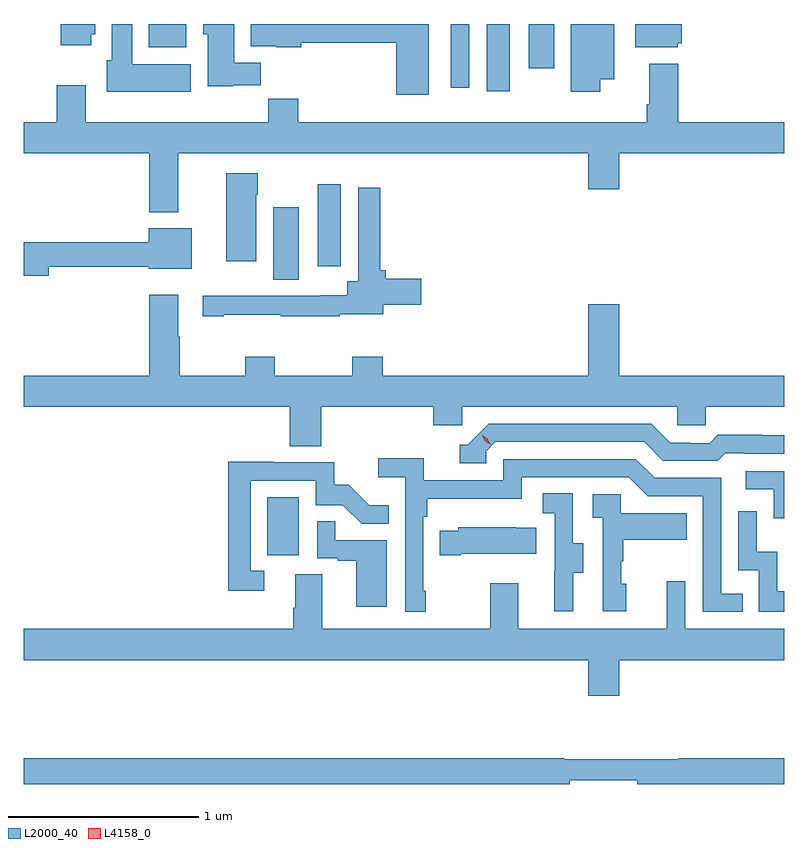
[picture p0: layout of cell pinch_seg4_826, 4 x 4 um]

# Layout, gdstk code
import gdstk
lib = gdstk.Library(unit=1e-6, precision=1e-09)
def R(c, l, rs):  # rectangles x0, y0, x1, y1
    for r in rs: c.add(gdstk.rectangle(r[:2], r[2:], *l))
def P(c, l, *ps):  # polygons
    for p in ps: c.add(gdstk.Polygon(p, *l))
L2000_40 = (2000, 40)
L4158_0 = (4158, 0)

pinch_seg4_826 = lib.new_cell('pinch_seg4_826')
R(pinch_seg4_826, L2000_40, [(882.602,809.358,882.766,809.665), (882.632,810.808,882.766,811.189), (882.866,810.879,882.988,811.309), (883.754,811.8,883.876,812.153), (883.566,811.818,883.662,812.153), (883.976,811.92,884.11,812.153), (881.978,812.03,882.175,812.153)])
P(pinch_seg4_826, L2000_40, [(881.674,812.1),(881.695,812.1),(881.695,812.153),(881.516,812.153),(881.516,812.04),(881.674,812.04)],
  [(884.76,812.052),(884.782,812.052),(884.782,812.153),(884.537,812.153),(884.537,812.03),(884.76,812.03)],
  [(882.423,811.83),(882.566,811.83),(882.566,811.948),(882.427,811.948),(882.427,812.153),(882.263,812.153),(882.263,812.1),(882.287,812.1),(882.287,811.826),(882.423,811.826)],
  [(883.45,812.153),(882.515,812.153),(882.515,812.036),(882.648,812.036),(882.648,812.03),(882.779,812.03),(882.779,812.055),(883.28,812.055),(883.28,811.782),(883.45,811.782)],
  [(882.199,811.942),(881.89,811.942),(881.89,812.153),(881.783,812.153),(881.783,811.962),(881.756,811.962),(881.756,811.796),(882.199,811.796)],
  [(884.353,811.862),(884.425,811.862),(884.425,812.153),(884.198,812.153),(884.198,811.797),(884.353,811.797)],
  [(882.133,811.472),(884.288,811.472),(884.288,811.284),(884.452,811.284),(884.452,811.472),(885.32,811.472),(885.32,811.636),(884.762,811.636),(884.762,811.945),(884.609,811.945),(884.609,811.732),(884.597,811.732),(884.597,811.636),(882.764,811.636),(882.764,811.76),(882.607,811.76),(882.607,811.636),(881.647,811.636),(881.647,811.831),(881.495,811.831),(881.495,811.636),(881.32,811.636),(881.32,811.472),(881.981,811.472),(881.981,811.163),(882.133,811.163)],
  [(882.544,811.256),(882.552,811.256),(882.552,811.369),(882.386,811.369),(882.386,810.906),(882.544,810.906)],
  [(882.373,810.625),(882.673,810.625),(882.673,810.615),(882.982,810.615),(882.982,810.626),(883.21,810.626),(883.21,810.677),(883.411,810.677),(883.411,810.812),(883.223,810.812),(883.223,810.859),(883.196,810.859),(883.196,811.291),(883.08,811.291),(883.08,810.799),(883.022,810.799),(883.022,810.727),(882.882,810.727),(882.882,810.723),(882.536,810.723),(882.536,810.725),(882.261,810.725),(882.261,810.615),(882.373,810.615)],
  [(881.452,810.877),(881.978,810.877),(881.978,810.866),(882.205,810.866),(882.205,811.078),(881.978,811.078),(881.978,811.006),(881.32,811.006),(881.32,810.83),(881.452,810.83)],
  [(882.884,810.14),(883.475,810.14),(883.475,810.042),(883.626,810.042),(883.626,810.14),(884.757,810.14),(884.757,810.042),(884.907,810.042),(884.907,810.14),(885.32,810.14),(885.32,810.304),(884.452,810.304),(884.452,810.679),(884.288,810.679),(884.288,810.304),(883.208,810.304),(883.208,810.403),(883.048,810.403),(883.048,810.304),(882.639,810.304),(882.639,810.403),(882.484,810.403),(882.484,810.304),(882.141,810.304),(882.141,810.509),(882.133,810.509),(882.133,810.73),(881.981,810.73),(881.981,810.304),(881.32,810.304),(881.32,810.14),(882.719,810.14),(882.719,809.932),(882.884,809.932)],
  [(883.752,809.907),(883.8,809.955),(884.583,809.955),(884.682,809.856),(884.971,809.856),(885.01,809.895),(885.109,809.895),(885.109,809.892),(885.32,809.892),(885.32,809.989),(885.204,809.989),(885.204,809.992),(884.971,809.992),(884.929,809.949),(884.826,809.949),(884.826,809.952),(884.719,809.952),(884.62,810.051),(883.767,810.051),(883.656,809.94),(883.613,809.94),(883.613,809.844),(883.752,809.844)],
  [(883.435,809.173),(883.422,809.173),(883.422,809.561),(883.442,809.561),(883.442,809.657),(883.938,809.657),(883.938,809.769),(884.502,809.769),(884.601,809.67),(884.892,809.67),(884.892,809.061),(885.101,809.061),(885.101,809.157),(884.988,809.157),(884.988,809.766),(884.638,809.766),(884.539,809.865),(883.842,809.865),(883.842,809.754),(883.424,809.754),(883.424,809.87),(883.185,809.87),(883.185,809.768),(883.326,809.768),(883.326,809.061),(883.435,809.061)],
  [(882.586,809.277),(882.513,809.277),(882.513,809.751),(882.855,809.751),(882.855,809.622),(882.999,809.622),(883.097,809.524),(883.241,809.524),(883.241,809.623),(883.137,809.623),(883.03,809.73),(882.954,809.73),(882.954,809.847),(882.635,809.847),(882.635,809.852),(882.397,809.852),(882.397,809.172),(882.586,809.172)],
  [(885.32,809.802),(885.117,809.802),(885.117,809.706),(885.264,809.706),(885.264,809.553),(885.32,809.553)],
  [(884.209,809.266),(884.263,809.266),(884.263,809.421),(884.208,809.421),(884.208,809.684),(884.049,809.684),(884.049,809.581),(884.112,809.581),(884.112,809.277),(884.111,809.277),(884.111,809.064),(884.209,809.064)],
  [(884.488,809.208),(884.463,809.208),(884.463,809.327),(884.473,809.327),(884.473,809.441),(884.807,809.441),(884.807,809.581),(884.46,809.581),(884.46,809.679),(884.313,809.679),(884.313,809.555),(884.364,809.555),(884.364,809.064),(884.488,809.064)],
  [(885.32,809.17),(885.284,809.17),(885.284,809.378),(885.174,809.378),(885.174,809.59),(885.078,809.59),(885.078,809.28),(885.186,809.28),(885.186,809.061),(885.32,809.061)],
  [(883.228,809.439),(882.959,809.439),(882.959,809.537),(882.864,809.537),(882.864,809.343),(882.971,809.343),(882.971,809.331),(883.07,809.331),(883.07,809.088),(883.228,809.088)],
  [(883.618,809.366),(884.015,809.366),(884.015,809.503),(883.907,809.503),(883.907,809.506),(883.605,809.506),(883.605,809.488),(883.507,809.488),(883.507,809.359),(883.618,809.359)],
  [(884.452,808.808),(885.32,808.808),(885.32,808.972),(884.799,808.972),(884.799,809.221),(884.702,809.221),(884.702,808.972),(883.921,808.972),(883.921,809.212),(883.774,809.212),(883.774,808.972),(882.889,808.972),(882.889,809.258),(882.749,809.258),(882.749,809.084),(882.737,809.084),(882.737,808.972),(881.32,808.972),(881.32,808.808),(884.288,808.808),(884.288,808.62),(884.452,808.62)],
  [(884.192,808.175),(884.548,808.175),(884.548,808.156),(885.32,808.156),(885.32,808.292),(884.762,808.292),(884.762,808.285),(884.162,808.285),(884.162,808.292),(881.32,808.292),(881.32,808.156),(884.192,808.156)])
P(pinch_seg4_826, L4158_0, [(883.776,809.941),(883.744,809.96),(883.728,809.992),(883.728,809.992),(883.728,809.992),(883.759,809.973),(883.776,809.941),(883.776,809.941)])

lib.write_gds('pinch_seg4_826.gds')
